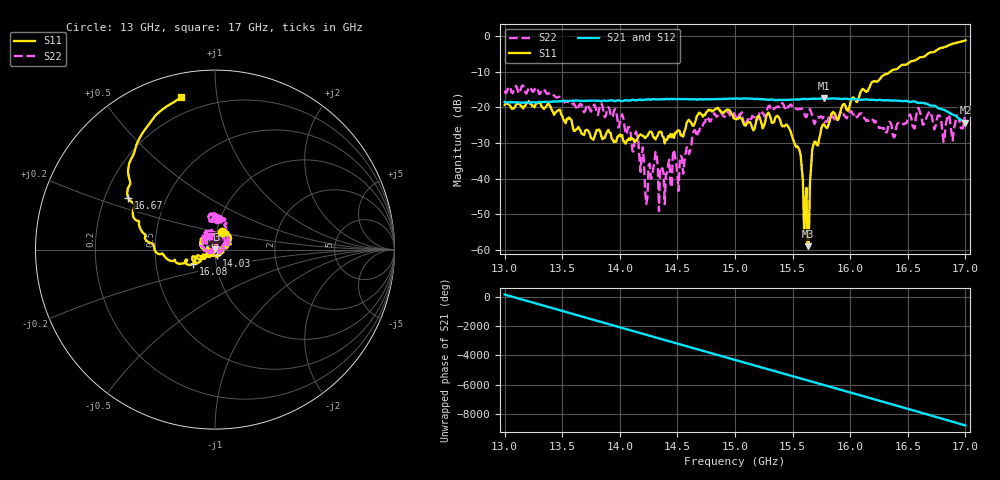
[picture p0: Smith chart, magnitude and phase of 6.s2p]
!Keysight Technologies,P9374A,MY57211807,A.19.30.04
!Date: Friday, May 01, 2026 14:07:40
!Correction: S11(C  2-Port  )
!S21(C  2-Port  )
!S12(C  2-Port  )
!S22(C  2-Port  )
!S2P File: Measurements: S11, S21, S12, S22:
# Hz S  RI  R 50
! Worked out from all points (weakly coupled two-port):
!   401 points, 13 GHz to 17 GHz, reference 50 ohm
!   highest |S21| = -17.44 dB at 15.77 GHz (marker M1); lowest = -24.3 dB at 17 GHz (marker M2)
!   lowest |S11| = -59.0 dB at 15.63 GHz (marker M3), VSWR 1.00, Z = 50 + j0.112 ohm
!   |S11| at or under -10 dB: start of sweep to 16.35 GHz
!   |S22| runs from -49.1 to -13.9 dB; largest |S21 - S12| = 0.0047
!   S11 on the Smith chart (normalised r, x): 13 GHz: 1.06, +0.22; 14.03 GHz: 1.02, -0.07; 16.08 GHz: 0.77, -0.12; 16.67 GHz: 0.30, +0.25; 17 GHz: 0.11, +0.80
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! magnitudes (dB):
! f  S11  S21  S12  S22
! 13 GHz  -19.3  -18.5  -18.4  -15.3
! 13.38 GHz  -18.9  -18.4  -18.4  -16.1
! 13.67 GHz  -27.5  -18.1  -18.1  -19.4
! 14.03 GHz  -29.4  -18.2  -18.1  -22.9
! 14.15 GHz  -29.1  -18.0  -18.0  -27.8
! 14.23 GHz  -28.2  -17.7  -17.7  -47.1
! 14.31 GHz  -29.0  -17.7  -17.6  -32.5
! 14.34 GHz  -26.9  -17.7  -17.8  -49.1
! 14.53 GHz  -27.9  -17.7  -17.7  -33.6
! 14.75 GHz  -21.4  -17.7  -17.7  -22.7
! 15 GHz  -23.2  -17.5  -17.5  -22.4
! 15.46 GHz  -25.4  -17.9  -17.9  -19.7
! 15.56 GHz  -32.1  -17.7  -17.7  -20.4
! 15.62 GHz  -42.6  -17.7  -17.7  -22.7
! 15.63 GHz  -59.0  -17.7  -17.6  -21.8
! 15.67 GHz  -31.9  -17.6  -17.5  -22.2
! 15.77 GHz  -24.7  -17.4  -17.4  -22.7
! 16.08 GHz  -16.8  -17.7  -17.7  -21.7
! 16.34 GHz  -10.2  -18.0  -18.0  -24.0
! 16.67 GHz  -5.0  -19.1  -19.0  -22.2
! 16.81 GHz  -3.2  -20.6  -20.6  -29.7
! 17 GHz  -1.2  -24.3  -24.3  -21.6
